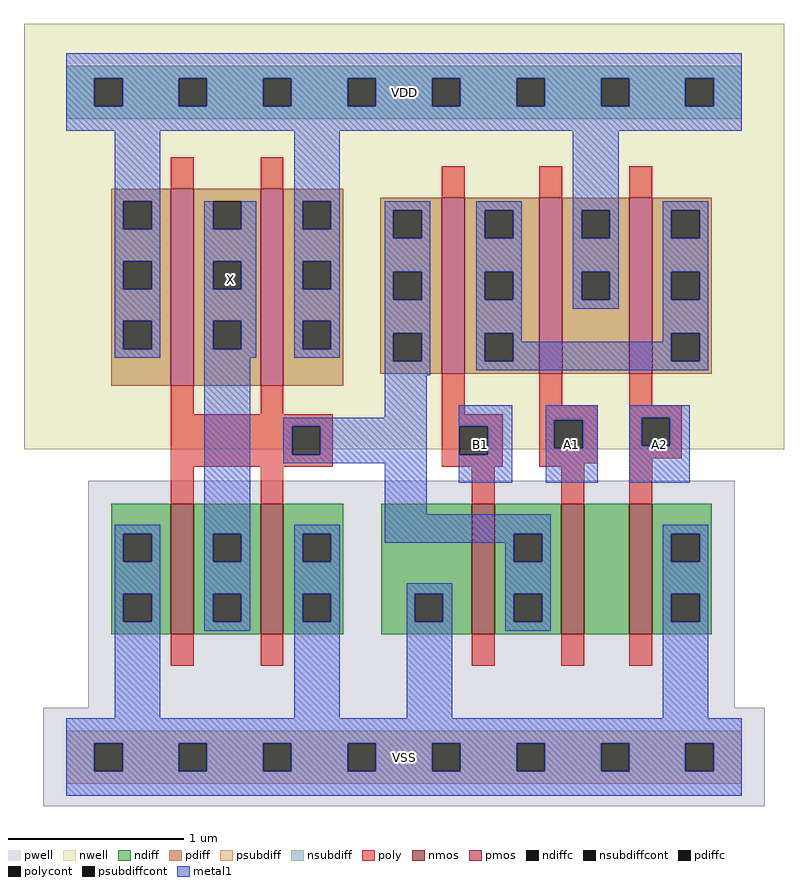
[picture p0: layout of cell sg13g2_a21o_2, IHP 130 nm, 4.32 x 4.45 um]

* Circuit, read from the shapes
.subckt sg13g2_a21o_2 B1 X VDD VSS A1 A2
XM1 X n1 VSS VSS sg13_lv_nmos w=0.74u l=0.13u m=2
XM2 n1 B1 VSS VSS sg13_lv_nmos w=0.74u l=0.13u
XM3 n2 A1 n1 VSS sg13_lv_nmos w=0.74u l=0.13u
XM4 VSS A2 n2 VSS sg13_lv_nmos w=0.74u l=0.13u
XM5 X n1 VDD VDD sg13_lv_pmos w=1.12u l=0.13u m=2
XM6 n3 B1 n1 VDD sg13_lv_pmos w=1u l=0.13u
XM7 VDD A1 n3 VDD sg13_lv_pmos w=1u l=0.13u
XM8 n3 A2 VDD VDD sg13_lv_pmos w=1u l=0.13u
.ends

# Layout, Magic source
magic
tech ihp-sg13g2
magscale 1 2
<< nwell >>
rect -48 350 816 834
<< pwell >>
rect 25 56 760 314
rect -26 -56 794 56
<< nmos >>
rect 119 140 145 288
rect 221 140 247 288
rect 461 140 487 288
rect 563 140 589 288
rect 640 140 666 288
<< pmos >>
rect 119 422 145 646
rect 221 422 247 646
rect 427 436 453 636
rect 538 436 564 636
rect 640 436 666 636
<< ndiff >>
rect 51 254 119 288
rect 51 222 65 254
rect 97 222 119 254
rect 51 186 119 222
rect 51 154 65 186
rect 97 154 119 186
rect 51 140 119 154
rect 145 254 221 288
rect 145 222 167 254
rect 199 222 221 254
rect 145 186 221 222
rect 145 154 167 186
rect 199 154 221 186
rect 145 140 221 154
rect 247 254 315 288
rect 247 222 269 254
rect 301 222 315 254
rect 247 186 315 222
rect 247 154 269 186
rect 301 154 315 186
rect 247 140 315 154
rect 358 186 461 288
rect 358 154 396 186
rect 428 154 461 186
rect 358 140 461 154
rect 487 254 563 288
rect 487 222 509 254
rect 541 222 563 254
rect 487 186 563 222
rect 487 154 509 186
rect 541 154 563 186
rect 487 140 563 154
rect 589 140 640 288
rect 666 254 734 288
rect 666 222 688 254
rect 720 222 734 254
rect 666 186 734 222
rect 666 154 688 186
rect 720 154 734 186
rect 666 140 734 154
<< pdiff >>
rect 51 632 119 646
rect 51 600 65 632
rect 97 600 119 632
rect 51 564 119 600
rect 51 532 65 564
rect 97 532 119 564
rect 51 496 119 532
rect 51 464 65 496
rect 97 464 119 496
rect 51 422 119 464
rect 145 632 221 646
rect 145 600 167 632
rect 199 600 221 632
rect 145 564 221 600
rect 145 532 167 564
rect 199 532 221 564
rect 145 496 221 532
rect 145 464 167 496
rect 199 464 221 496
rect 145 422 221 464
rect 247 632 315 646
rect 247 600 269 632
rect 301 600 315 632
rect 247 564 315 600
rect 247 532 269 564
rect 301 532 315 564
rect 247 496 315 532
rect 247 464 269 496
rect 301 464 315 496
rect 247 422 315 464
rect 357 622 427 636
rect 357 590 372 622
rect 404 590 427 622
rect 357 552 427 590
rect 357 520 372 552
rect 404 520 427 552
rect 357 482 427 520
rect 357 450 372 482
rect 404 450 427 482
rect 357 436 427 450
rect 453 622 538 636
rect 453 590 476 622
rect 508 590 538 622
rect 453 552 538 590
rect 453 520 476 552
rect 508 520 538 552
rect 453 482 538 520
rect 453 450 476 482
rect 508 450 538 482
rect 453 436 538 450
rect 564 622 640 636
rect 564 590 586 622
rect 618 590 640 622
rect 564 552 640 590
rect 564 520 586 552
rect 618 520 640 552
rect 564 436 640 520
rect 666 622 734 636
rect 666 590 688 622
rect 720 590 734 622
rect 666 552 734 590
rect 666 520 688 552
rect 720 520 734 552
rect 666 482 734 520
rect 666 450 688 482
rect 720 450 734 482
rect 666 436 734 450
<< ndiffc >>
rect 65 222 97 254
rect 65 154 97 186
rect 167 222 199 254
rect 167 154 199 186
rect 269 222 301 254
rect 269 154 301 186
rect 396 154 428 186
rect 509 222 541 254
rect 509 154 541 186
rect 688 222 720 254
rect 688 154 720 186
<< pdiffc >>
rect 65 600 97 632
rect 65 532 97 564
rect 65 464 97 496
rect 167 600 199 632
rect 167 532 199 564
rect 167 464 199 496
rect 269 600 301 632
rect 269 532 301 564
rect 269 464 301 496
rect 372 590 404 622
rect 372 520 404 552
rect 372 450 404 482
rect 476 590 508 622
rect 476 520 508 552
rect 476 450 508 482
rect 586 590 618 622
rect 586 520 618 552
rect 688 590 720 622
rect 688 520 720 552
rect 688 450 720 482
<< psubdiff >>
rect 0 16 768 30
rect 0 -16 32 16
rect 64 -16 128 16
rect 160 -16 224 16
rect 256 -16 320 16
rect 352 -16 416 16
rect 448 -16 512 16
rect 544 -16 608 16
rect 640 -16 704 16
rect 736 -16 768 16
rect 0 -30 768 -16
<< nsubdiff >>
rect 0 772 768 786
rect 0 740 32 772
rect 64 740 128 772
rect 160 740 224 772
rect 256 740 320 772
rect 352 740 416 772
rect 448 740 512 772
rect 544 740 608 772
rect 640 740 704 772
rect 736 740 768 772
rect 0 726 768 740
<< psubdiffcont >>
rect 32 -16 64 16
rect 128 -16 160 16
rect 224 -16 256 16
rect 320 -16 352 16
rect 416 -16 448 16
rect 512 -16 544 16
rect 608 -16 640 16
rect 704 -16 736 16
<< nsubdiffcont >>
rect 32 740 64 772
rect 128 740 160 772
rect 224 740 256 772
rect 320 740 352 772
rect 416 740 448 772
rect 512 740 544 772
rect 608 740 640 772
rect 704 740 736 772
<< poly >>
rect 119 646 145 682
rect 221 646 247 682
rect 427 636 453 672
rect 538 636 564 672
rect 640 636 666 672
rect 119 390 145 422
rect 221 390 247 422
rect 427 390 453 436
rect 538 400 564 436
rect 640 400 666 436
rect 119 376 303 390
rect 119 344 257 376
rect 289 344 303 376
rect 119 330 303 344
rect 427 376 496 390
rect 427 344 447 376
rect 479 344 496 376
rect 427 330 496 344
rect 538 383 604 400
rect 538 351 555 383
rect 587 351 604 383
rect 538 334 604 351
rect 640 386 700 400
rect 640 354 654 386
rect 686 354 700 386
rect 640 340 700 354
rect 538 330 589 334
rect 119 288 145 330
rect 221 288 247 330
rect 461 288 487 330
rect 563 288 589 330
rect 640 288 666 340
rect 119 104 145 140
rect 221 104 247 140
rect 461 104 487 140
rect 563 104 589 140
rect 640 104 666 140
<< polycont >>
rect 257 344 289 376
rect 447 344 479 376
rect 555 351 587 383
rect 654 354 686 386
<< metal1 >>
rect 0 772 768 800
rect 0 740 32 772
rect 64 740 128 772
rect 160 740 224 772
rect 256 740 320 772
rect 352 740 416 772
rect 448 740 512 772
rect 544 740 608 772
rect 640 740 704 772
rect 736 740 768 772
rect 0 712 768 740
rect 55 632 107 712
rect 259 632 311 712
rect 55 600 65 632
rect 97 600 107 632
rect 55 564 107 600
rect 55 532 65 564
rect 97 532 107 564
rect 55 496 107 532
rect 55 464 65 496
rect 97 464 107 496
rect 55 454 107 464
rect 157 600 167 632
rect 199 600 216 632
rect 157 564 216 600
rect 157 532 167 564
rect 199 532 216 564
rect 157 496 216 532
rect 157 464 167 496
rect 199 464 216 496
rect 157 454 216 464
rect 259 600 269 632
rect 301 600 311 632
rect 259 564 311 600
rect 259 532 269 564
rect 301 532 311 564
rect 259 496 311 532
rect 259 464 269 496
rect 301 464 311 496
rect 259 454 311 464
rect 362 622 414 632
rect 362 590 372 622
rect 404 590 414 622
rect 362 552 414 590
rect 362 520 372 552
rect 404 520 414 552
rect 362 482 414 520
rect 55 254 107 264
rect 55 222 65 254
rect 97 222 107 254
rect 55 186 107 222
rect 55 154 65 186
rect 97 154 107 186
rect 55 44 107 154
rect 157 254 209 454
rect 362 450 372 482
rect 404 450 414 482
rect 362 434 414 450
rect 466 622 518 632
rect 466 590 476 622
rect 508 590 518 622
rect 466 552 518 590
rect 466 520 476 552
rect 508 520 518 552
rect 466 482 518 520
rect 576 622 628 712
rect 576 590 586 622
rect 618 590 628 622
rect 576 552 628 590
rect 576 520 586 552
rect 618 520 628 552
rect 576 510 628 520
rect 678 622 730 632
rect 678 590 688 622
rect 720 590 730 622
rect 678 552 730 590
rect 678 520 688 552
rect 720 520 730 552
rect 466 450 476 482
rect 508 472 518 482
rect 678 482 730 520
rect 678 472 688 482
rect 508 450 688 472
rect 720 450 730 482
rect 466 440 730 450
rect 362 386 410 434
rect 247 376 410 386
rect 247 344 257 376
rect 289 344 410 376
rect 247 334 410 344
rect 362 276 410 334
rect 446 376 507 400
rect 446 344 447 376
rect 479 344 507 376
rect 446 312 507 344
rect 545 383 604 400
rect 545 351 555 383
rect 587 351 604 383
rect 545 312 604 351
rect 640 386 709 400
rect 640 354 654 386
rect 686 354 709 386
rect 640 312 709 354
rect 157 222 167 254
rect 199 222 209 254
rect 157 186 209 222
rect 157 154 167 186
rect 199 154 209 186
rect 157 144 209 154
rect 259 254 311 264
rect 259 222 269 254
rect 301 222 311 254
rect 362 254 551 276
rect 362 244 509 254
rect 259 186 311 222
rect 499 222 509 244
rect 541 222 551 254
rect 259 154 269 186
rect 301 154 311 186
rect 259 44 311 154
rect 387 186 439 198
rect 387 154 396 186
rect 428 154 439 186
rect 387 44 439 154
rect 499 186 551 222
rect 499 154 509 186
rect 541 154 551 186
rect 499 144 551 154
rect 678 254 730 264
rect 678 222 688 254
rect 720 222 730 254
rect 678 186 730 222
rect 678 154 688 186
rect 720 154 730 186
rect 678 44 730 154
rect 0 16 768 44
rect 0 -16 32 16
rect 64 -16 128 16
rect 160 -16 224 16
rect 256 -16 320 16
rect 352 -16 416 16
rect 448 -16 512 16
rect 544 -16 608 16
rect 640 -16 704 16
rect 736 -16 768 16
rect 0 -44 768 -16
<< labels >>
flabel metal1 s 446 312 496 400 0 FreeSans 400 0 0 0 B1
port 2 nsew
flabel metal1 s 157 454 216 632 0 FreeSans 400 0 0 0 X
port 3 nsew
flabel metal1 s 0 712 768 800 0 FreeSans 400 0 0 0 VDD
port 4 nsew
flabel metal1 s 0 -44 768 44 0 FreeSans 400 0 0 0 VSS
port 5 nsew
flabel metal1 s 545 312 604 400 0 FreeSans 400 0 0 0 A1
port 6 nsew
flabel metal1 s 640 312 709 400 0 FreeSans 400 0 0 0 A2
port 7 nsew
<< properties >>
string FIXED_BBOX 0 0 768 756
<< end >>
